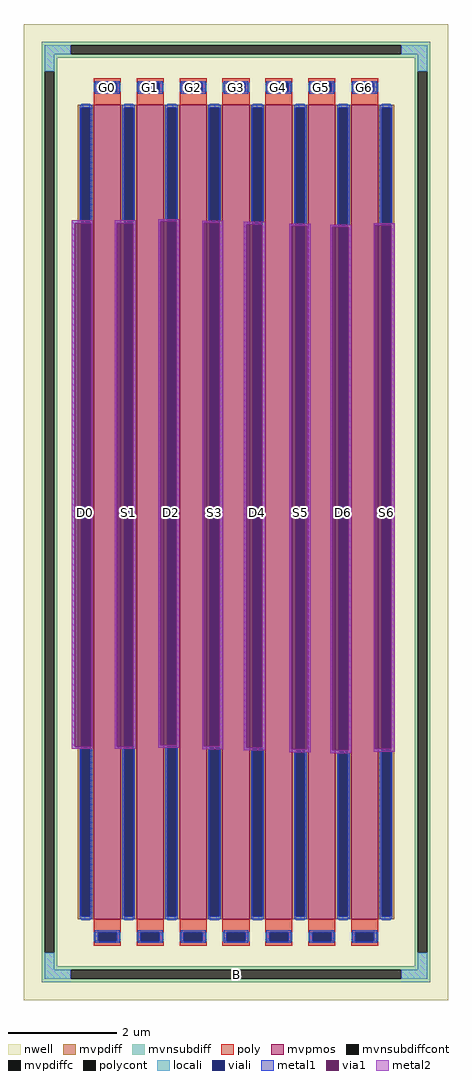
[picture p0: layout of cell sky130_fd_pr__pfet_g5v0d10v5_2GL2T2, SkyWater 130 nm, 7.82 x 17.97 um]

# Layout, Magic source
magic
tech sky130A
magscale 1 2
<< nwell >>
rect -782 -1797 782 1797
<< mvpmos >>
rect -524 -1500 -424 1500
rect -366 -1500 -266 1500
rect -208 -1500 -108 1500
rect -50 -1500 50 1500
rect 108 -1500 208 1500
rect 266 -1500 366 1500
rect 424 -1500 524 1500
<< mvpdiff >>
rect -582 1488 -524 1500
rect -582 -1488 -570 1488
rect -536 -1488 -524 1488
rect -582 -1500 -524 -1488
rect -424 1488 -366 1500
rect -424 -1488 -412 1488
rect -378 -1488 -366 1488
rect -424 -1500 -366 -1488
rect -266 1488 -208 1500
rect -266 -1488 -254 1488
rect -220 -1488 -208 1488
rect -266 -1500 -208 -1488
rect -108 1488 -50 1500
rect -108 -1488 -96 1488
rect -62 -1488 -50 1488
rect -108 -1500 -50 -1488
rect 50 1488 108 1500
rect 50 -1488 62 1488
rect 96 -1488 108 1488
rect 50 -1500 108 -1488
rect 208 1488 266 1500
rect 208 -1488 220 1488
rect 254 -1488 266 1488
rect 208 -1500 266 -1488
rect 366 1488 424 1500
rect 366 -1488 378 1488
rect 412 -1488 424 1488
rect 366 -1500 424 -1488
rect 524 1488 582 1500
rect 524 -1488 536 1488
rect 570 -1488 582 1488
rect 524 -1500 582 -1488
<< mvpdiffc >>
rect -570 -1488 -536 1488
rect -412 -1488 -378 1488
rect -254 -1488 -220 1488
rect -96 -1488 -62 1488
rect 62 -1488 96 1488
rect 220 -1488 254 1488
rect 378 -1488 412 1488
rect 536 -1488 570 1488
<< mvnsubdiff >>
rect -716 1719 716 1731
rect -716 1685 -608 1719
rect 608 1685 716 1719
rect -716 1673 716 1685
rect -716 1623 -658 1673
rect -716 -1623 -704 1623
rect -670 -1623 -658 1623
rect 658 1623 716 1673
rect -716 -1673 -658 -1623
rect 658 -1623 670 1623
rect 704 -1623 716 1623
rect 658 -1673 716 -1623
rect -716 -1685 716 -1673
rect -716 -1719 -608 -1685
rect 608 -1719 716 -1685
rect -716 -1731 716 -1719
<< mvnsubdiffcont >>
rect -608 1685 608 1719
rect -704 -1623 -670 1623
rect 670 -1623 704 1623
rect -608 -1719 608 -1685
<< poly >>
rect -524 1581 -424 1597
rect -524 1547 -508 1581
rect -440 1547 -424 1581
rect -524 1500 -424 1547
rect -366 1581 -266 1597
rect -366 1547 -350 1581
rect -282 1547 -266 1581
rect -366 1500 -266 1547
rect -208 1581 -108 1597
rect -208 1547 -192 1581
rect -124 1547 -108 1581
rect -208 1500 -108 1547
rect -50 1581 50 1597
rect -50 1547 -34 1581
rect 34 1547 50 1581
rect -50 1500 50 1547
rect 108 1581 208 1597
rect 108 1547 124 1581
rect 192 1547 208 1581
rect 108 1500 208 1547
rect 266 1581 366 1597
rect 266 1547 282 1581
rect 350 1547 366 1581
rect 266 1500 366 1547
rect 424 1581 524 1597
rect 424 1547 440 1581
rect 508 1547 524 1581
rect 424 1500 524 1547
rect -524 -1547 -424 -1500
rect -524 -1581 -508 -1547
rect -440 -1581 -424 -1547
rect -524 -1597 -424 -1581
rect -366 -1547 -266 -1500
rect -366 -1581 -350 -1547
rect -282 -1581 -266 -1547
rect -366 -1597 -266 -1581
rect -208 -1547 -108 -1500
rect -208 -1581 -192 -1547
rect -124 -1581 -108 -1547
rect -208 -1597 -108 -1581
rect -50 -1547 50 -1500
rect -50 -1581 -34 -1547
rect 34 -1581 50 -1547
rect -50 -1597 50 -1581
rect 108 -1547 208 -1500
rect 108 -1581 124 -1547
rect 192 -1581 208 -1547
rect 108 -1597 208 -1581
rect 266 -1547 366 -1500
rect 266 -1581 282 -1547
rect 350 -1581 366 -1547
rect 266 -1597 366 -1581
rect 424 -1547 524 -1500
rect 424 -1581 440 -1547
rect 508 -1581 524 -1547
rect 424 -1597 524 -1581
<< polycont >>
rect -508 1547 -440 1581
rect -350 1547 -282 1581
rect -192 1547 -124 1581
rect -34 1547 34 1581
rect 124 1547 192 1581
rect 282 1547 350 1581
rect 440 1547 508 1581
rect -508 -1581 -440 -1547
rect -350 -1581 -282 -1547
rect -192 -1581 -124 -1547
rect -34 -1581 34 -1547
rect 124 -1581 192 -1547
rect 282 -1581 350 -1547
rect 440 -1581 508 -1547
<< locali >>
rect -704 1685 -608 1719
rect 608 1685 704 1719
rect -704 1623 -670 1685
rect 670 1623 704 1685
rect -524 1547 -508 1581
rect -440 1547 -424 1581
rect -366 1547 -350 1581
rect -282 1547 -266 1581
rect -208 1547 -192 1581
rect -124 1547 -108 1581
rect -50 1547 -34 1581
rect 34 1547 50 1581
rect 108 1547 124 1581
rect 192 1547 208 1581
rect 266 1547 282 1581
rect 350 1547 366 1581
rect 424 1547 440 1581
rect 508 1547 524 1581
rect -570 1488 -536 1504
rect -570 -1504 -536 -1488
rect -412 1488 -378 1504
rect -412 -1504 -378 -1488
rect -254 1488 -220 1504
rect -254 -1504 -220 -1488
rect -96 1488 -62 1504
rect -96 -1504 -62 -1488
rect 62 1488 96 1504
rect 62 -1504 96 -1488
rect 220 1488 254 1504
rect 220 -1504 254 -1488
rect 378 1488 412 1504
rect 378 -1504 412 -1488
rect 536 1488 570 1504
rect 536 -1504 570 -1488
rect -524 -1581 -508 -1547
rect -440 -1581 -424 -1547
rect -366 -1581 -350 -1547
rect -282 -1581 -266 -1547
rect -208 -1581 -192 -1547
rect -124 -1581 -108 -1547
rect -50 -1581 -34 -1547
rect 34 -1581 50 -1547
rect 108 -1581 124 -1547
rect 192 -1581 208 -1547
rect 266 -1581 282 -1547
rect 350 -1581 366 -1547
rect 424 -1581 440 -1547
rect 508 -1581 524 -1547
rect -704 -1685 -670 -1623
rect 670 -1685 704 -1623
rect -704 -1719 -608 -1685
rect 608 -1719 704 -1685
<< viali >>
rect -508 1547 -440 1581
rect -350 1547 -282 1581
rect -192 1547 -124 1581
rect -34 1547 34 1581
rect 124 1547 192 1581
rect 282 1547 350 1581
rect 440 1547 508 1581
rect -570 -1488 -536 1488
rect -412 -1488 -378 1488
rect -254 -1488 -220 1488
rect -96 -1488 -62 1488
rect 62 -1488 96 1488
rect 220 -1488 254 1488
rect 378 -1488 412 1488
rect 536 -1488 570 1488
rect -508 -1581 -440 -1547
rect -350 -1581 -282 -1547
rect -192 -1581 -124 -1547
rect -34 -1581 34 -1547
rect 124 -1581 192 -1547
rect 282 -1581 350 -1547
rect 440 -1581 508 -1547
<< metal1 >>
rect -520 1581 -428 1587
rect -520 1547 -508 1581
rect -440 1547 -428 1581
rect -520 1541 -428 1547
rect -362 1581 -270 1587
rect -362 1547 -350 1581
rect -282 1547 -270 1581
rect -362 1541 -270 1547
rect -204 1581 -112 1587
rect -204 1547 -192 1581
rect -124 1547 -112 1581
rect -204 1541 -112 1547
rect -46 1581 46 1587
rect -46 1547 -34 1581
rect 34 1547 46 1581
rect -46 1541 46 1547
rect 112 1581 204 1587
rect 112 1547 124 1581
rect 192 1547 204 1581
rect 112 1541 204 1547
rect 270 1581 362 1587
rect 270 1547 282 1581
rect 350 1547 362 1581
rect 270 1541 362 1547
rect 428 1581 520 1587
rect 428 1547 440 1581
rect 508 1547 520 1581
rect 428 1541 520 1547
rect -576 1488 -530 1500
rect -576 1074 -570 1488
rect -605 1064 -570 1074
rect -536 1074 -530 1488
rect -418 1488 -372 1500
rect -418 1074 -412 1488
rect -536 1064 -527 1074
rect -605 -864 -593 1064
rect -533 -864 -527 1064
rect -605 -872 -570 -864
rect -576 -1488 -570 -872
rect -536 -872 -527 -864
rect -447 1064 -412 1074
rect -378 1074 -372 1488
rect -260 1488 -214 1500
rect -260 1078 -254 1488
rect -447 -864 -439 1064
rect -447 -872 -412 -864
rect -536 -1488 -530 -872
rect -576 -1500 -530 -1488
rect -418 -1488 -412 -872
rect -378 -872 -369 1074
rect -287 1070 -254 1078
rect -220 1078 -214 1488
rect -102 1488 -56 1500
rect -220 1070 -209 1078
rect -102 1072 -96 1488
rect -287 -858 -279 1070
rect -219 -858 -209 1070
rect -287 -868 -254 -858
rect -378 -1488 -372 -872
rect -418 -1500 -372 -1488
rect -260 -1488 -254 -868
rect -220 -868 -209 -858
rect -125 1066 -96 1072
rect -62 1072 -56 1488
rect 56 1488 102 1500
rect -62 1066 -47 1072
rect 56 1068 62 1488
rect -125 -862 -119 1066
rect -59 -862 -47 1066
rect -220 -1488 -214 -868
rect -125 -874 -96 -862
rect -260 -1500 -214 -1488
rect -102 -1488 -96 -874
rect -62 -874 -47 -862
rect 29 1060 62 1068
rect 96 1068 102 1488
rect 214 1488 260 1500
rect 96 1060 107 1068
rect 214 1062 220 1488
rect 29 -868 37 1060
rect 97 -868 107 1060
rect -62 -1488 -56 -874
rect 29 -878 62 -868
rect -102 -1500 -56 -1488
rect 56 -1488 62 -878
rect 96 -878 107 -868
rect 197 1054 220 1062
rect 254 1062 260 1488
rect 372 1488 418 1500
rect 254 1054 275 1062
rect 372 1058 378 1488
rect 197 -874 203 1054
rect 263 -874 275 1054
rect 96 -1488 102 -878
rect 197 -884 220 -874
rect 56 -1500 102 -1488
rect 214 -1488 220 -884
rect 254 -884 275 -874
rect 347 1050 378 1058
rect 412 1058 418 1488
rect 530 1488 576 1500
rect 530 1064 536 1488
rect 412 1050 425 1058
rect 347 -878 355 1050
rect 415 -878 425 1050
rect 254 -1488 260 -884
rect 347 -888 378 -878
rect 214 -1500 260 -1488
rect 372 -1488 378 -888
rect 412 -888 425 -878
rect 507 1056 536 1064
rect 570 1064 576 1488
rect 570 1056 585 1064
rect 507 -872 511 1056
rect 571 -872 585 1056
rect 507 -882 536 -872
rect 412 -1488 418 -888
rect 372 -1500 418 -1488
rect 530 -1488 536 -882
rect 570 -882 585 -872
rect 570 -1488 576 -882
rect 530 -1500 576 -1488
rect -520 -1547 -428 -1541
rect -520 -1581 -508 -1547
rect -440 -1581 -428 -1547
rect -520 -1587 -428 -1581
rect -362 -1547 -270 -1541
rect -362 -1581 -350 -1547
rect -282 -1581 -270 -1547
rect -362 -1587 -270 -1581
rect -204 -1547 -112 -1541
rect -204 -1581 -192 -1547
rect -124 -1581 -112 -1547
rect -204 -1587 -112 -1581
rect -46 -1547 46 -1541
rect -46 -1581 -34 -1547
rect 34 -1581 46 -1547
rect -46 -1587 46 -1581
rect 112 -1547 204 -1541
rect 112 -1581 124 -1547
rect 192 -1581 204 -1547
rect 112 -1587 204 -1581
rect 270 -1547 362 -1541
rect 270 -1581 282 -1547
rect 350 -1581 362 -1547
rect 270 -1587 362 -1581
rect 428 -1547 520 -1541
rect 428 -1581 440 -1547
rect 508 -1581 520 -1547
rect 428 -1587 520 -1581
<< via1 >>
rect -593 -864 -570 1064
rect -570 -864 -536 1064
rect -536 -864 -533 1064
rect -439 -864 -412 1064
rect -412 -864 -379 1064
rect -279 -858 -254 1070
rect -254 -858 -220 1070
rect -220 -858 -219 1070
rect -119 -862 -96 1066
rect -96 -862 -62 1066
rect -62 -862 -59 1066
rect 37 -868 62 1060
rect 62 -868 96 1060
rect 96 -868 97 1060
rect 203 -874 220 1054
rect 220 -874 254 1054
rect 254 -874 263 1054
rect 355 -878 378 1050
rect 378 -878 412 1050
rect 412 -878 415 1050
rect 511 -872 536 1056
rect 536 -872 570 1056
rect 570 -872 571 1056
<< metal2 >>
rect -605 1064 -527 1074
rect -605 -864 -593 1064
rect -533 -864 -527 1064
rect -605 -872 -527 -864
rect -447 1064 -369 1074
rect -447 -864 -439 1064
rect -379 -864 -369 1064
rect -447 -872 -369 -864
rect -287 1070 -209 1078
rect -287 -858 -279 1070
rect -219 -858 -209 1070
rect -287 -868 -209 -858
rect -125 1066 -47 1072
rect -125 -862 -119 1066
rect -59 -862 -47 1066
rect -125 -874 -47 -862
rect 29 1060 107 1068
rect 29 -868 37 1060
rect 97 -868 107 1060
rect 29 -878 107 -868
rect 197 1054 275 1062
rect 197 -874 203 1054
rect 263 -874 275 1054
rect 197 -884 275 -874
rect 347 1050 425 1058
rect 347 -878 355 1050
rect 415 -878 425 1050
rect 347 -888 425 -878
rect 507 1056 585 1064
rect 507 -872 511 1056
rect 571 -872 585 1056
rect 507 -882 585 -872
<< labels >>
rlabel mvnsubdiffcont 0 -1702 0 -1702 0 B
port 1 nsew
rlabel polycont -316 1564 -316 1564 0 G1
port 5 nsew
rlabel polycont -158 1564 -158 1564 0 G2
port 7 nsew
rlabel polycont 0 1564 0 1564 0 G3
port 9 nsew
rlabel mvpdiffc 79 0 79 0 0 D4
port 10 nsew
rlabel polycont 158 1564 158 1564 0 G4
port 11 nsew
rlabel mvpdiffc 237 0 237 0 0 S5
port 12 nsew
rlabel polycont 316 1564 316 1564 0 G5
port 13 nsew
rlabel mvpdiffc 395 0 395 0 0 D6
port 14 nsew
rlabel mvpdiffc 553 0 553 0 0 S6
port 15 nsew
rlabel polycont 474 1564 474 1564 0 G6
port 16 nsew
rlabel mvpdiffc -553 0 -553 0 0 D0
port 2 nsew
rlabel mvpdiffc -237 0 -237 0 0 D2
port 6 nsew
rlabel mvpdiffc -79 0 -79 0 0 S3
port 8 nsew
rlabel polycont -474 1564 -474 1564 0 G0
port 3 nsew
rlabel mvpdiffc -395 0 -395 0 0 S1
port 4 nsew
<< properties >>
string FIXED_BBOX -687 -1702 687 1702
string gencell sky130_fd_pr__pfet_g5v0d10v5
string library sky130
string parameters w 15 l .5 m 1 nf 7 diffcov 100 polycov 100 guard 1 glc 1 grc 1 gtc 1 gbc 1 tbcov 100 rlcov 100 topc 1 botc 1 poverlap 0 doverlap 1 lmin 0.50 wmin 0.42 class mosfet compatible {sky130_fd_pr__pfet_01v8  sky130_fd_pr__pfet_01v8_lvt sky130_fd_pr__pfet_01v8_hvt  sky130_fd_pr__pfet_g5v0d10v5} full_metal 1 conn_gates 0 viasrc 100 viadrn 100 viagate 100 viagb 0 viagr 0 viagl 0 viagt 0 doports 1
<< end >>
